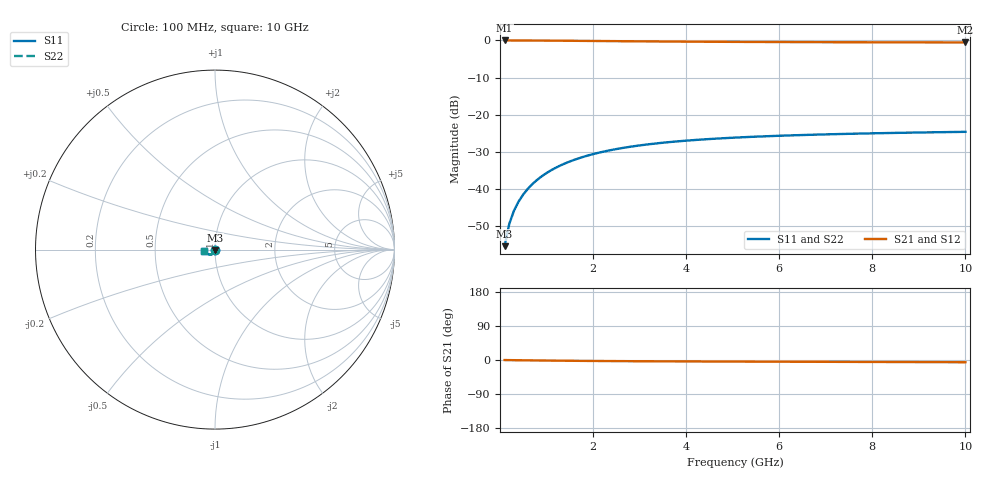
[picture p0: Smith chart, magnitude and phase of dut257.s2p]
! Touchstone file exported from HFSS 2024.1.0
!  File:  C:/UserFiles/LocalFiles/RDL_TSV_Batchsim/temp_TSV1_257_1779391062.aedt
!  Generated:  03:25:52 AM May 22, 2026
!  Design:  TSV1
!  Project:  temp_TSV1_257_1779391062
!  Setup:  Setup1
!  Solution:  Sweep
! Variables:
!  dtsv = 12.21um
!  hbump = 3um
!  htsv = 91.95um
!  lrdl = 252.1521522um
!  p = 40
!  p1 = 52.78um
!  t = 500um
!  trdl = 3um
!  wrdl = 24.89489489um
# GHz S MA R 50.000000
! Terminal data exported
! Port[1] = TSV22_T1
! Port[2] = TSV22_T2
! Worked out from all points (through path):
!   100 points, 100 MHz to 10 GHz, reference 50 ohm
!   highest |S21| = 0.00 dB at 100 MHz (marker M1); lowest = -0.5 dB at 10 GHz (marker M2)
!   lowest |S11| = -55.4 dB at 100 MHz (marker M3), VSWR 1.00, Z = 50 - j0.169 ohm
!   |S11| at or under -10 dB: start of sweep to end of sweep
!   |S22| runs from -55.4 to -24.6 dB; largest |S21 - S12| = 9.2e-15
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0.1  0.001694 -88.2  0.9998 -0.2  0.9998 -0.2  0.001694 -88.2
! Gamma 0 0 0 0
! Port Impedance 50 0 50 0
0.2  0.003383 -91.7  0.9997 -0.3  0.9997 -0.3  0.003383 -91.7
0.3  0.00507 -94.0  0.9994 -0.5  0.9994 -0.5  0.00507 -94.0
0.4  0.006749 -96.1  0.999 -0.6  0.999 -0.6  0.006749 -96.1
0.5  0.008414 -98.0  0.9985 -0.8  0.9985 -0.8  0.008414 -98.0
0.6  0.01006 -99.9  0.9979 -0.9  0.9979 -0.9  0.01006 -99.9
0.7  0.01168 -101.8  0.9973 -1.0  0.9973 -1.0  0.01168 -101.8
0.8  0.01327 -103.6  0.9966 -1.2  0.9966 -1.2  0.01327 -103.6
0.9  0.01484 -105.4  0.9957 -1.3  0.9957 -1.3  0.01484 -105.4
1.1  0.01785 -108.8  0.994 -1.6  0.994 -1.6  0.01785 -108.8
1.4  0.02209 -113.7  0.9909 -1.9  0.9909 -1.9  0.02209 -113.7
1.6  0.0247 -116.8  0.9887 -2.1  0.9887 -2.1  0.0247 -116.8
1.8  0.02715 -119.8  0.9864 -2.3  0.9864 -2.3  0.02715 -119.8
2.1  0.03051 -124.0  0.9829 -2.6  0.9829 -2.6  0.03051 -124.0
2.5  0.03442 -129.1  0.9784 -2.9  0.9784 -2.9  0.03442 -129.1
2.9  0.03777 -133.7  0.9741 -3.2  0.9741 -3.2  0.03777 -133.7
3.4  0.04128 -138.8  0.9691 -3.5  0.9691 -3.5  0.04128 -138.8
4.2  0.04566 -145.8  0.9625 -3.8  0.9625 -3.8  0.04565 -145.8
5.1  0.04929 -152.2  0.9565 -4.2  0.9565 -4.2  0.04929 -152.2
6.7  0.05367 -161.3  0.949 -4.7  0.949 -4.7  0.05367 -161.3
8.4  0.05671 -168.9  0.9437 -5.3  0.9437 -5.3  0.05671 -168.9
10  0.05875 -174.7  0.9404 -5.9  0.9404 -5.9  0.05875 -174.7
